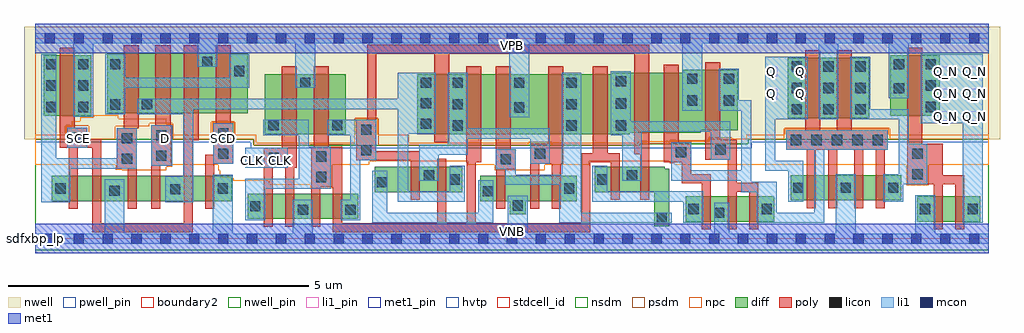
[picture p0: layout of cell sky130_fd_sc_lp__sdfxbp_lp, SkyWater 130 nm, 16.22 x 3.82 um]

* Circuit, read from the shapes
.subckt sky130_fd_sc_lp__sdfxbp_lp CLK D Q Q_N SCD SCE VGND VNB VPB VPWR
XM1 n1 SCE n2 VNB sky130_fd_pr__nfet_01v8 w=0.42 l=0.15
XM2 VGND SCE n1 VNB sky130_fd_pr__nfet_01v8 w=0.42 l=0.15
XM3 n3 n2 VGND VNB sky130_fd_pr__nfet_01v8 w=0.42 l=0.15
XM4 n4 D n3 VNB sky130_fd_pr__nfet_01v8 w=0.42 l=0.15
XM5 n5 SCE n4 VNB sky130_fd_pr__nfet_01v8 w=0.42 l=0.15
XM6 VGND SCD n5 VNB sky130_fd_pr__nfet_01v8 w=0.42 l=0.15
XM7 n6 CLK n7 VNB sky130_fd_pr__nfet_01v8 w=0.42 l=0.15
XM8 VGND CLK n6 VNB sky130_fd_pr__nfet_01v8 w=0.42 l=0.15
XM9 n8 n7 VGND VNB sky130_fd_pr__nfet_01v8 w=0.42 l=0.15
XM10 n9 n7 n8 VNB sky130_fd_pr__nfet_01v8 w=0.42 l=0.15
XM11 n10 n9 n11 VNB sky130_fd_pr__nfet_01v8 w=0.42 l=0.15
XM12 n4 n7 n10 VNB sky130_fd_pr__nfet_01v8 w=0.42 l=0.15
XM13 VGND n12 n11 VNB sky130_fd_pr__nfet_01v8 w=0.42 l=0.15
XM14 n13 n10 VGND VNB sky130_fd_pr__nfet_01v8 w=0.42 l=0.15
XM15 n12 n10 n13 VNB sky130_fd_pr__nfet_01v8 w=0.42 l=0.15
XM16 n14 n7 n15 VNB sky130_fd_pr__nfet_01v8 w=0.42 l=0.15
XM17 n12 n9 n14 VNB sky130_fd_pr__nfet_01v8 w=0.42 l=0.15
XM18 VGND n16 n15 VNB sky130_fd_pr__nfet_01v8 w=0.42 l=0.15
XM19 n17 n14 VGND VNB sky130_fd_pr__nfet_01v8 w=0.42 l=0.15
XM20 n16 n14 n17 VNB sky130_fd_pr__nfet_01v8 w=0.42 l=0.15
XM21 n18 n16 Q VNB sky130_fd_pr__nfet_01v8 w=0.42 l=0.15
XM22 VGND n16 n18 VNB sky130_fd_pr__nfet_01v8 w=0.42 l=0.15
XM23 n19 n16 VGND VNB sky130_fd_pr__nfet_01v8 w=0.42 l=0.15
XM24 n20 n16 n19 VNB sky130_fd_pr__nfet_01v8 w=0.42 l=0.15
XM25 n21 n20 VGND VNB sky130_fd_pr__nfet_01v8 w=0.42 l=0.15
XM26 Q_N n20 n21 VNB sky130_fd_pr__nfet_01v8 w=0.42 l=0.15
XM27 VPWR SCE n2 VPB sky130_fd_pr__pfet_01v8_hvt w=1 l=0.25
XM28 n4 n2 n22 VPB sky130_fd_pr__pfet_01v8_hvt w=1 l=0.25
XM29 n23 D n4 VPB sky130_fd_pr__pfet_01v8_hvt w=1 l=0.25
XM30 VPWR SCE n23 VPB sky130_fd_pr__pfet_01v8_hvt w=1 l=0.25
XM31 n22 SCD VPWR VPB sky130_fd_pr__pfet_01v8_hvt w=1 l=0.25
XM32 VPWR CLK n7 VPB sky130_fd_pr__pfet_01v8_hvt w=1 l=0.25
XM33 n9 n7 VPWR VPB sky130_fd_pr__pfet_01v8_hvt w=1 l=0.25
XM34 n10 n9 n4 VPB sky130_fd_pr__pfet_01v8_hvt w=1 l=0.25
XM35 n24 n7 n10 VPB sky130_fd_pr__pfet_01v8_hvt w=1 l=0.25
XM36 VPWR n12 n24 VPB sky130_fd_pr__pfet_01v8_hvt w=1 l=0.25
XM37 n12 n10 VPWR VPB sky130_fd_pr__pfet_01v8_hvt w=1 l=0.25
XM38 n14 n7 n12 VPB sky130_fd_pr__pfet_01v8_hvt w=1 l=0.25
XM39 n25 n9 n14 VPB sky130_fd_pr__pfet_01v8_hvt w=1 l=0.25
XM40 VPWR n16 n25 VPB sky130_fd_pr__pfet_01v8_hvt w=1 l=0.25
XM41 n16 n14 VPWR VPB sky130_fd_pr__pfet_01v8_hvt w=1 l=0.25
XM42 VPWR n16 Q VPB sky130_fd_pr__pfet_01v8_hvt w=1 l=0.25
XM43 n20 n16 VPWR VPB sky130_fd_pr__pfet_01v8_hvt w=1 l=0.25
XM44 Q_N n20 VPWR VPB sky130_fd_pr__pfet_01v8_hvt w=1 l=0.25
.ends

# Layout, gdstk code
import gdstk
lib = gdstk.Library(unit=1e-6, precision=1e-09)
def R(c, l, rs):  # rectangles x0, y0, x1, y1
    for r in rs: c.add(gdstk.rectangle(r[:2], r[2:], *l))
def A(c, l, x, y, w, h, nx, ny, dx, dy):  # array of equal rectangles
    R(c, l, [(x+i*dx, y+j*dy, x+i*dx+w, y+j*dy+h) for i in range(nx) for j in range(ny)])
def P(c, l, *ps):  # polygons
    for p in ps: c.add(gdstk.Polygon(p, *l))
nwell_pin = (64, 16)
nwell = (64, 20)
diff = (65, 20)
poly = (66, 20)
licon = (66, 44)
li1_pin = (67, 16)
li1 = (67, 20)
mcon = (67, 44)
met1_pin = (68, 16)
met1 = (68, 20)
hvtp = (78, 44)
stdcell_id = (81, 4)
nsdm = (93, 44)
psdm = (94, 20)
npc = (95, 20)
pwell_pin = (122, 16)
boundary2 = (236, 0)

sky130_fd_sc_lp__sdfxbp_ = lib.new_cell('sky130_fd_sc_lp__sdfxbp_lp')
R(sky130_fd_sc_lp__sdfxbp_, nwell_pin, [(0,3.085,15.84,3.33)])
P(sky130_fd_sc_lp__sdfxbp_, nwell, [(16.03,3.52),(-0.19,3.52),(-0.19,1.655),(3.63,1.655),(3.63,1.555),(10.055,1.555),(10.055,1.58),(11.85,1.58),(11.85,1.655),(16.03,1.655)])
R(sky130_fd_sc_lp__sdfxbp_, diff, [(10.805,0.285,12.28,0.705), (14.655,0.285,15.705,0.705), (3.53,0.33,5.365,0.75), (0.27,0.625,3.26,1.045), (12.55,0.635,14.385,1.055), (5.635,0.775,7.095,1.195), (3.81,1.735,5.16,2.735), (12.505,2.005,13.855,3.005), (0.135,2.045,0.925,3.045), (14.205,2.045,15.025,3.045), (1.195,2.085,3.53,3.085)])
P(sky130_fd_sc_lp__sdfxbp_, diff, [(8.995,1.045),(7.395,1.045),(7.395,0.625),(7.885,0.625),(7.885,0.405),(8.145,0.405),(8.145,0.625),(8.995,0.625)],
  [(10.535,1.16),(10.455,1.16),(10.455,1.195),(9.295,1.195),(9.295,0.775),(10.28,0.775),(10.28,0.205),(10.535,0.205)],
  [(11.67,2.805),(10.77,2.805),(10.77,2.76),(9.585,2.76),(9.585,2.735),(6.345,2.735),(6.345,1.735),(9.875,1.735),(9.875,1.76),(11.06,1.76),(11.06,1.805),(11.67,1.805)])
P(sky130_fd_sc_lp__sdfxbp_, poly, [(1.715,3.215),(1.465,3.215),(1.465,1.835),(1.355,1.835),(1.355,1.165),(1.535,1.165),(1.535,0.495),(1.685,0.495),(1.685,1.835),(1.715,1.835)],
  [(2.255,1.885),(2.245,1.885),(2.245,3.215),(1.995,3.215),(1.995,1.885),(1.925,1.885),(1.925,0.495),(2.075,0.495),(2.075,1.215),(2.255,1.215)],
  [(2.715,3.215),(2.465,3.215),(2.465,0.255),(1.095,0.255),(1.095,1.665),(0.86,1.665),(0.86,1.845),(0.655,1.845),(0.655,3.175),(0.405,3.175),(0.405,1.515),(0.555,1.515),(0.555,0.495),(0.705,0.495),(0.705,1.515),(0.945,1.515),(0.945,0.105),(2.615,0.105),(2.615,1.635),(2.715,1.635)],
  [(3.285,1.915),(3.245,1.915),(3.245,3.215),(2.995,3.215),(2.995,1.915),(2.955,1.915),(2.955,1.395),(2.825,1.395),(2.825,0.495),(2.975,0.495),(2.975,1.245),(3.285,1.245)],
  [(4.345,2.865),(4.095,2.865),(4.095,1.51),(3.795,1.51),(3.795,0.2),(3.945,0.2),(3.945,1.18),(4.155,1.18),(4.155,0.2),(4.305,0.2),(4.305,1.18),(4.345,1.18)],
  [(7.98,1.485),(7.9,1.485),(7.9,2.865),(7.65,2.865),(7.65,1.155),(7.66,1.155),(7.66,0.495),(7.81,0.495),(7.81,1.155),(7.98,1.155)],
  [(8.77,2.865),(8.52,2.865),(8.52,1.575),(8.22,1.575),(8.22,0.495),(8.37,0.495),(8.37,1.245),(8.58,1.245),(8.58,0.495),(8.73,0.495),(8.73,1.245),(8.77,1.245)],
  [(9.71,1.42),(9.51,1.42),(9.51,2.865),(9.26,2.865),(9.26,1.42),(9.07,1.42),(9.07,0.255),(7.32,0.255),(7.32,1.27),(7.41,1.27),(7.41,2.865),(7.16,2.865),(7.16,1.27),(7.17,1.27),(7.17,0.255),(6.83,0.255),(6.83,1.325),(6.68,1.325),(6.68,0.255),(5.095,0.255),(5.095,1.53),(4.875,1.53),(4.875,2.865),(4.625,2.865),(4.625,1.53),(4.585,1.53),(4.585,0.2),(4.735,0.2),(4.735,0.86),(4.945,0.86),(4.945,0.105),(9.22,0.105),(9.22,1.27),(9.56,1.27),(9.56,0.645),(9.71,0.645)],
  [(10.205,1.55),(10.2,1.55),(10.2,3.225),(5.515,3.225),(5.515,1.975),(5.335,1.975),(5.335,1.305),(6.24,1.305),(6.24,0.645),(6.39,0.645),(6.39,1.455),(5.665,1.455),(5.665,3.075),(6.63,3.075),(6.63,1.605),(6.88,1.605),(6.88,3.075),(9.95,3.075),(9.95,1.4),(10.055,1.4),(10.055,0.645),(10.205,0.645)],
  [(11.225,1.075),(10.895,1.075),(10.895,1.6),(10.695,1.6),(10.695,2.89),(10.445,2.89),(10.445,1.27),(10.745,1.27),(10.745,0.925),(11.075,0.925),(11.075,0.155),(11.225,0.155)],
  [(12.015,0.93),(11.655,0.93),(11.655,1.645),(11.385,1.645),(11.385,2.935),(11.135,2.935),(11.135,1.315),(11.505,1.315),(11.505,0.155),(11.655,0.155),(11.655,0.78),(11.865,0.78),(11.865,0.155),(12.015,0.155)],
  [(14.165,1.805),(13.57,1.805),(13.57,3.135),(13.32,3.135),(13.32,1.805),(13.04,1.805),(13.04,3.135),(12.79,3.135),(12.79,1.805),(12.475,1.805),(12.475,1.475),(12.815,1.475),(12.815,0.505),(12.965,0.505),(12.965,1.475),(13.175,1.475),(13.175,0.505),(13.325,0.505),(13.325,1.475),(13.605,1.475),(13.605,0.505),(13.755,0.505),(13.755,1.475),(13.965,1.475),(13.965,0.505),(14.115,0.505),(14.115,1.475),(14.165,1.475)],
  [(15.435,1.055),(15.075,1.055),(15.075,1.575),(14.74,1.575),(14.74,3.175),(14.49,3.175),(14.49,0.905),(14.925,0.905),(14.925,0.155),(15.075,0.155),(15.075,0.905),(15.285,0.905),(15.285,0.155),(15.435,0.155)])
A(sky130_fd_sc_lp__sdfxbp_, licon, 12.59, 0.76, 0.17, 0.17, 3, 1, 0.79, 0)
A(sky130_fd_sc_lp__sdfxbp_, licon, 12.555, 1.555, 0.17, 0.17, 5, 1, 0.34, 0)
A(sky130_fd_sc_lp__sdfxbp_, licon, 6.935, 1.795, 0.17, 0.17, 1, 3, 0, 0.355)
A(sky130_fd_sc_lp__sdfxbp_, licon, 8.825, 1.795, 0.17, 0.17, 1, 3, 0, 0.355)
A(sky130_fd_sc_lp__sdfxbp_, licon, 6.405, 1.825, 0.17, 0.17, 1, 3, 0, 0.34)
A(sky130_fd_sc_lp__sdfxbp_, licon, 12.565, 2.065, 0.17, 0.17, 3, 3, 0.53, 0.355)
A(sky130_fd_sc_lp__sdfxbp_, licon, 14.795, 2.105, 0.17, 0.17, 1, 3, 0, 0.355)
A(sky130_fd_sc_lp__sdfxbp_, licon, 0.18, 2.815, 0.17, 0.17, 3, 1, 0.53, 0)
R(sky130_fd_sc_lp__sdfxbp_, licon, [(10.325,0.265,10.495,0.435), (11.28,0.345,11.45,0.515), (4.36,0.395,4.53,0.565), (5.15,0.395,5.32,0.565), (10.85,0.41,11.02,0.58), (12.07,0.41,12.24,0.58), (14.7,0.41,14.87,0.58), (15.49,0.41,15.66,0.58), (3.57,0.455,3.74,0.625), (7.93,0.465,8.1,0.635), (7.435,0.705,7.605,0.875), (1.23,0.71,1.4,0.88), (2.24,0.735,2.41,0.905), (0.33,0.75,0.5,0.92), (3.03,0.75,3.2,0.92), (8.785,0.75,8.955,0.92), (5.675,0.855,5.845,1.025), (6.885,0.9,7.055,1.07), (9.335,0.9,9.505,1.07), (4.665,0.94,4.835,1.11), (6.455,0.965,6.625,1.135), (9.83,0.965,10,1.135), (14.575,0.985,14.745,1.155), (7.73,1.235,7.9,1.405), (1.435,1.245,1.605,1.415), (3.875,1.26,4.045,1.43), (4.665,1.28,4.835,1.45), (2.005,1.295,2.175,1.465), (3.035,1.325,3.205,1.495), (8.3,1.325,8.47,1.495), (14.575,1.325,14.745,1.495), (10.645,1.35,10.815,1.52), (5.415,1.385,5.585,1.555), (11.3,1.395,11.47,1.565), (1.435,1.585,1.605,1.755), (0.61,1.595,0.78,1.765), (2.005,1.635,2.175,1.805), (3.035,1.665,3.205,1.835), (5.415,1.725,5.585,1.895), (9.645,1.795,9.815,1.965), (3.87,1.8,4.04,1.97), (4.93,1.8,5.1,1.97), (7.955,2.095,8.125,2.265), (0.18,2.105,0.35,2.275), (0.71,2.105,0.88,2.275), (1.24,2.145,1.41,2.315), (1.77,2.15,1.94,2.32), (9.645,2.16,9.815,2.33), (10.83,2.21,11,2.38), (11.44,2.21,11.61,2.38), (14.265,2.415,14.435,2.585), (0.18,2.46,0.35,2.63), (0.71,2.46,0.88,2.63), (4.4,2.505,4.57,2.675), (7.955,2.505,8.125,2.675), (9.645,2.53,9.815,2.7), (10.83,2.575,11,2.745), (11.44,2.575,11.61,2.745), (3.3,2.7,3.47,2.87), (14.265,2.815,14.435,2.985), (2.77,2.855,2.94,3.025)])
A(sky130_fd_sc_lp__sdfxbp_, li1_pin, 15.035, 1.95, 0.17, 0.17, 1, 3, 0, 0.37)
A(sky130_fd_sc_lp__sdfxbp_, li1_pin, 15.515, 1.95, 0.17, 0.17, 1, 3, 0, 0.37)
R(sky130_fd_sc_lp__sdfxbp_, li1_pin, [(3.515,1.21,3.685,1.38), (3.995,1.21,4.165,1.38), (0.635,1.58,0.805,1.75), (2.075,1.58,2.245,1.75), (3.035,1.58,3.205,1.75), (12.155,2.32,12.325,2.49), (12.635,2.32,12.805,2.49), (12.155,2.69,12.325,2.86), (12.635,2.69,12.805,2.86)])
R(sky130_fd_sc_lp__sdfxbp_, li1, [(3.485,1.18,4.195,1.51), (1.925,1.215,2.275,1.885), (2.955,1.245,3.285,1.915), (0.53,1.515,0.86,1.845)])
P(sky130_fd_sc_lp__sdfxbp_, li1, [(0.63,2.025),(0.63,3.245),(0,3.245),(0,3.415),(15.84,3.415),(15.84,3.245),(14.515,3.245),(14.515,2.335),(14.185,2.335),(14.185,3.245),(13.345,3.245),(13.345,1.985),(13.015,1.985),(13.015,3.245),(11.08,3.245),(11.08,2.13),(10.75,2.13),(10.75,3.245),(8.205,3.245),(8.205,2.015),(7.875,2.015),(7.875,3.245),(4.65,3.245),(4.65,2.505),(4.32,2.505),(4.32,3.245),(3.02,3.245),(3.02,2.855),(2.69,2.855),(2.69,3.245),(0.96,3.245),(0.96,2.025)],
  [(4.28,0.085),(4.28,0.65),(4.61,0.65),(4.61,0.085),(7.85,0.085),(7.85,0.715),(8.18,0.715),(8.18,0.085),(11.28,0.085),(11.28,0.595),(11.53,0.595),(11.53,0.085),(13.3,0.085),(13.3,1.075),(13.63,1.075),(13.63,0.085),(14.62,0.085),(14.62,0.725),(14.95,0.725),(14.95,0.085),(15.84,0.085),(15.84,-0.085),(0,-0.085),(0,0.085),(1.15,0.085),(1.15,0.985),(1.48,0.985),(1.48,0.085),(2.95,0.085),(2.95,1.065),(3.28,1.065),(3.28,0.085)],
  [(14.715,1.92),(14.715,3.065),(15.74,3.065),(15.74,0.265),(15.41,0.265),(15.41,1.92)],
  [(12.125,3.025),(12.835,3.025),(12.835,1.985),(12.295,1.985),(12.295,1.295),(12.76,1.295),(12.76,0.615),(12.51,0.615),(12.51,1.125),(12.125,1.125)],
  [(5.595,0.265),(5.595,1.125),(5.845,1.125),(5.845,0.435),(7.355,0.435),(7.355,0.975),(7.605,0.975),(7.605,0.265)],
  [(11.99,0.265),(11.99,0.775),(11.73,0.775),(11.73,0.965),(10.565,0.965),(10.565,1.6),(10.895,1.6),(10.895,1.135),(11.73,1.135),(11.73,2.13),(11.36,2.13),(11.36,2.825),(11.69,2.825),(11.69,2.3),(11.9,2.3),(11.9,0.945),(12.32,0.945),(12.32,0.435),(12.94,0.435),(12.94,1.475),(12.475,1.475),(12.475,1.805),(14.165,1.805),(14.165,1.475),(13.11,1.475),(13.11,0.265)],
  [(4.545,1.53),(4.91,1.53),(4.91,0.83),(3.82,0.83),(3.82,0.31),(3.49,0.31),(3.49,1),(4.375,1),(4.375,1.715),(3.79,1.715),(3.79,1.975),(4.545,1.975)],
  [(7.81,0.895),(7.81,1.155),(7.65,1.155),(7.65,1.485),(7.98,1.485),(7.98,1.065),(8.745,1.065),(8.745,2.755),(9.075,2.755),(9.075,0.435),(10.575,0.435),(10.575,0.265),(8.705,0.265),(8.705,0.895)],
  [(9.255,0.615),(9.255,1.215),(9.505,1.215),(9.505,0.785),(11.1,0.785),(11.1,0.265),(10.77,0.265),(10.77,0.615)],
  [(2.625,2.155),(2.625,0.605),(2.16,0.605),(2.16,1.035),(2.455,1.035),(2.455,2.065),(1.69,2.065),(1.69,2.325),(6.025,2.325),(6.025,2.755),(6.655,2.755),(6.655,1.745),(6.195,1.745),(6.195,0.785),(6.885,0.785),(6.885,1.215),(7.135,1.215),(7.135,0.615),(6.025,0.615),(6.025,2.155)],
  [(14.345,1.075),(14.345,1.985),(13.545,1.985),(13.545,3.025),(13.875,3.025),(13.875,2.155),(14.515,2.155),(14.515,1.575),(14.825,1.575),(14.825,0.905),(14.42,0.905),(14.42,0.615),(14.09,0.615),(14.09,1.075)],
  [(3.22,2.675),(3.22,3.065),(3.55,3.065),(3.55,2.505),(1.49,2.505),(1.49,2.065),(1.16,2.065),(1.16,3.065),(1.49,3.065),(1.49,2.675)],
  [(6.375,0.965),(6.375,1.565),(6.855,1.565),(6.855,2.755),(7.185,2.755),(7.185,1.835),(8.55,1.835),(8.55,1.245),(8.22,1.245),(8.22,1.665),(7.185,1.665),(7.185,1.395),(6.705,1.395),(6.705,0.965)],
  [(9.75,1.715),(9.565,1.715),(9.565,2.78),(9.895,2.78),(9.895,1.95),(11.55,1.95),(11.55,1.315),(11.22,1.315),(11.22,1.78),(10.08,1.78),(10.08,0.965),(9.75,0.965)],
  [(0.1,0.605),(0.1,3.065),(0.35,3.065),(0.35,1.335),(1.355,1.335),(1.355,1.835),(1.685,1.835),(1.685,1.165),(0.58,1.165),(0.58,0.605)],
  [(5.07,0.31),(5.07,0.65),(5.23,0.65),(5.23,1.715),(4.85,1.715),(4.85,1.975),(5.66,1.975),(5.66,1.305),(5.4,1.305),(5.4,0.31)])
A(sky130_fd_sc_lp__sdfxbp_, mcon, 0.155, -0.085, 0.17, 0.17, 33, 2, 0.48, 3.33)
R(sky130_fd_sc_lp__sdfxbp_, met1_pin, [(0,0,15.84,0.245), (0,3.085,15.84,3.33)])
R(sky130_fd_sc_lp__sdfxbp_, met1, [(0,-0.245,15.84,0.245), (0,3.085,15.84,3.575)])
P(sky130_fd_sc_lp__sdfxbp_, hvtp, [(15.84,3.33),(0,3.33),(0,1.6),(3.575,1.6),(3.575,1.5),(11.905,1.5),(11.905,1.6),(15.84,1.6)])
R(sky130_fd_sc_lp__sdfxbp_, stdcell_id, [(0,0,15.84,3.33)])
P(sky130_fd_sc_lp__sdfxbp_, nsdm, [(15.84,1.655),(11.85,1.655),(11.85,1.58),(10.055,1.58),(10.055,1.555),(3.63,1.555),(3.63,1.655),(0,1.655),(0,-0.19),(15.84,-0.19)])
P(sky130_fd_sc_lp__sdfxbp_, psdm, [(15.84,3.52),(0,3.52),(0,1.655),(0.5,1.655),(0.5,1.875),(0.89,1.875),(0.89,1.655),(1.325,1.655),(1.325,1.865),(1.895,1.865),(1.895,1.915),(2.285,1.915),(2.285,1.655),(2.925,1.655),(2.925,1.945),(3.315,1.945),(3.315,1.655),(3.63,1.655),(3.63,1.555),(4.555,1.555),(4.555,1.56),(5.305,1.56),(5.305,2.005),(5.695,2.005),(5.695,1.555),(8.19,1.555),(8.19,1.605),(8.58,1.605),(8.58,1.555),(10.055,1.555),(10.055,1.58),(10.535,1.58),(10.535,1.63),(11.19,1.63),(11.19,1.675),(11.58,1.675),(11.58,1.655),(12.445,1.655),(12.445,1.835),(14.195,1.835),(14.195,1.655),(15.84,1.655)])
P(sky130_fd_sc_lp__sdfxbp_, npc, [(15.84,1.73),(14.185,1.73),(14.185,1.825),(12.455,1.825),(12.455,1.73),(11.81,1.73),(11.81,1.665),(11.2,1.665),(11.2,1.62),(10.015,1.62),(10.015,1.595),(6.205,1.595),(6.205,1.73),(5.685,1.73),(5.685,1.995),(5.315,1.995),(5.315,1.73),(5.3,1.73),(5.3,1.595),(3.67,1.595),(3.67,1.73),(3.305,1.73),(3.305,1.935),(2.935,1.935),(2.935,1.73),(2.275,1.73),(2.275,1.905),(2.17,1.905),(2.17,1.995),(1.375,1.995),(1.375,2.055),(0.97,2.055),(0.97,2.015),(0.745,2.015),(0.745,1.955),(0.615,1.955),(0.615,1.865),(0.51,1.865),(0.51,1.73),(0,1.73),(0,1.23),(1.335,1.23),(1.335,1.145),(1.44,1.145),(1.44,1.135),(2.17,1.135),(2.17,1.195),(2.275,1.195),(2.275,1.23),(2.935,1.23),(2.935,1.225),(3.04,1.225),(3.04,1.135),(3.065,1.135),(3.065,1.01),(3.29,1.01),(3.29,0.96),(3.88,0.96),(3.88,0.895),(4.565,0.895),(4.565,0.84),(4.935,0.84),(4.935,1.23),(5.545,1.23),(5.545,1.285),(7.185,1.285),(7.185,1.23),(7.63,1.23),(7.63,1.135),(8.465,1.135),(8.465,1.225),(8.57,1.225),(8.57,1.23),(9.205,1.23),(9.205,1.285),(10.545,1.285),(10.545,1.25),(10.625,1.25),(10.625,1.23),(14.475,1.23),(14.475,0.885),(14.845,0.885),(14.845,1.23),(15.84,1.23)])
R(sky130_fd_sc_lp__sdfxbp_, pwell_pin, [(0,0,15.84,0.245)])
R(sky130_fd_sc_lp__sdfxbp_, boundary2, [(0,0,15.84,3.33)])
sky130_fd_sc_lp__sdfxbp_.add(gdstk.Label('VNB', (7.92,0.123), layer=64, texttype=59))
sky130_fd_sc_lp__sdfxbp_.add(gdstk.Label('VPB', (7.92,3.208), layer=64, texttype=5))
sky130_fd_sc_lp__sdfxbp_.add(gdstk.Label('sdfxbp_lp', (0,0), layer=83, texttype=44))
sky130_fd_sc_lp__sdfxbp_.add(gdstk.Label('VPWR', (7.92,3.208), layer=68, texttype=5))
sky130_fd_sc_lp__sdfxbp_.add(gdstk.Label('VGND', (7.92,0.123), layer=68, texttype=5))
sky130_fd_sc_lp__sdfxbp_.add(gdstk.Label('CLK', (3.6,1.295), layer=67, texttype=5))
sky130_fd_sc_lp__sdfxbp_.add(gdstk.Label('CLK', (4.08,1.295), layer=67, texttype=5))
sky130_fd_sc_lp__sdfxbp_.add(gdstk.Label('Q', (12.24,2.405), layer=67, texttype=5))
sky130_fd_sc_lp__sdfxbp_.add(gdstk.Label('Q', (12.24,2.775), layer=67, texttype=5))
sky130_fd_sc_lp__sdfxbp_.add(gdstk.Label('Q', (12.72,2.405), layer=67, texttype=5))
sky130_fd_sc_lp__sdfxbp_.add(gdstk.Label('Q', (12.72,2.775), layer=67, texttype=5))
sky130_fd_sc_lp__sdfxbp_.add(gdstk.Label('SCE', (0.72,1.665), layer=67, texttype=5))
sky130_fd_sc_lp__sdfxbp_.add(gdstk.Label('D', (2.16,1.665), layer=67, texttype=5))
sky130_fd_sc_lp__sdfxbp_.add(gdstk.Label('SCD', (3.12,1.665), layer=67, texttype=5))
sky130_fd_sc_lp__sdfxbp_.add(gdstk.Label('Q_N', (15.12,2.035), layer=67, texttype=5))
sky130_fd_sc_lp__sdfxbp_.add(gdstk.Label('Q_N', (15.12,2.405), layer=67, texttype=5))
sky130_fd_sc_lp__sdfxbp_.add(gdstk.Label('Q_N', (15.12,2.775), layer=67, texttype=5))
sky130_fd_sc_lp__sdfxbp_.add(gdstk.Label('Q_N', (15.6,2.035), layer=67, texttype=5))
sky130_fd_sc_lp__sdfxbp_.add(gdstk.Label('Q_N', (15.6,2.405), layer=67, texttype=5))
sky130_fd_sc_lp__sdfxbp_.add(gdstk.Label('Q_N', (15.6,2.775), layer=67, texttype=5))

lib.write_gds('sky130_fd_sc_lp__sdfxbp_lp.gds')
